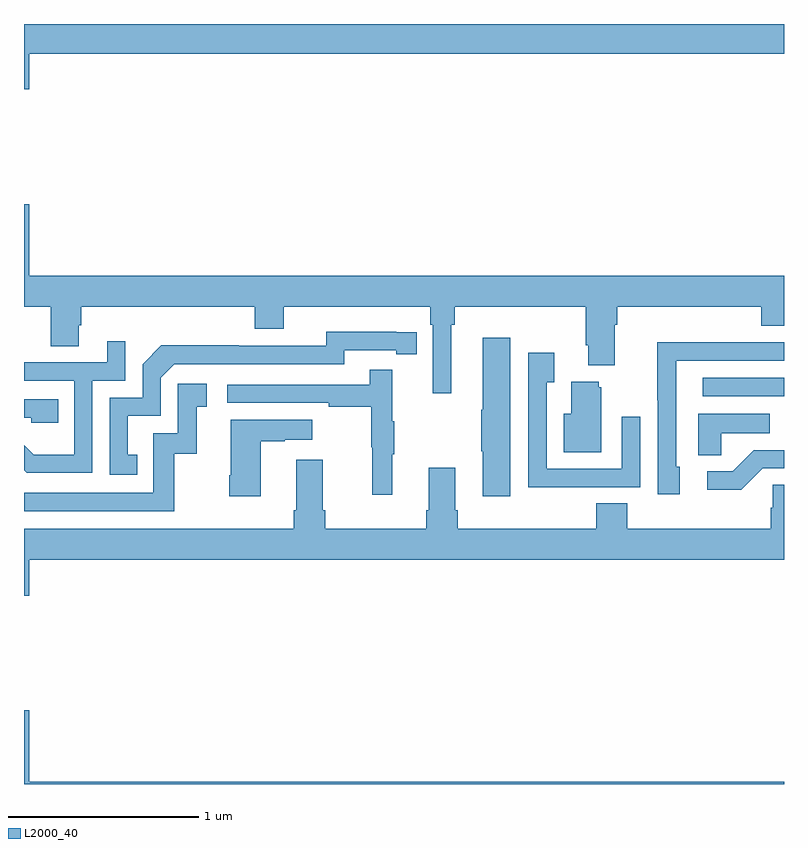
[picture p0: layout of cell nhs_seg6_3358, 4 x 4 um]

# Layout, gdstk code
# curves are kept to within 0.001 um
import gdstk
lib = gdstk.Library(unit=1e-6, precision=1e-09)
def R(c, l, rs):  # rectangles x0, y0, x1, y1
    for r in rs: c.add(gdstk.rectangle(r[:2], r[2:], *l))
def P(c, l, *ps):  # polygons
    for p in ps: c.add(gdstk.Polygon(p, *l))
L2000_40 = (2000, 40)

nhs_seg6_3358 = lib.new_cell('nhs_seg6_3358')
R(nhs_seg6_3358, L2000_40, [(312.573,937.542,313,937.638)])
P(nhs_seg6_3358, L2000_40, [(309.028,939.344),(313,939.344),(313,939.5),(309,939.5),(309,939.156),(309.028,939.156)],
  [(309.028,938.551),(309,938.551),(309,938.012),(309.142,938.012),(309.142,937.804),(309.289,937.804),(309.289,937.914),(309.302,937.914),(309.302,938.012),(310.214,938.012),(310.214,937.895),(310.366,937.895),(310.366,938.012),(311.138,938.012),(311.138,937.916),(311.151,937.916),(311.151,937.557),(311.248,937.557),(311.248,937.916),(311.267,937.916),(311.267,938.012),(311.957,938.012),(311.957,937.81),(311.969,937.81),(311.969,937.703),(312.109,937.703),(312.109,937.916),(312.122,937.916),(312.122,938.012),(312.881,938.012),(312.881,937.913),(313,937.913),(313,938.176),(309.028,938.176)],
  [(309.596,937.233),(309.547,937.233),(309.547,937.437),(309.72,937.437),(309.72,937.638),(309.792,937.71),(310.686,937.71),(310.686,937.782),(310.958,937.782),(310.958,937.762),(311.066,937.762),(311.066,937.878),(310.59,937.879),(310.59,937.806),(310.13,937.806),(310.13,937.808),(309.722,937.808),(309.624,937.71),(309.624,937.533),(309.45,937.533),(309.45,937.128),(309.596,937.128)],
  [(311.56,937.849),(311.414,937.849),(311.414,937.469),(311.407,937.469),(311.407,937.252),(311.414,937.252),(311.414,937.014),(311.56,937.014)],
  [(309.36,937.623),(309.534,937.623),(309.534,937.831),(309.437,937.831),(309.437,937.719),(309,937.719),(309,937.623),(309.264,937.623),(309.264,937.234),(309.05,937.234),(309,937.284),(309,937.151),(309.014,937.137),(309.36,937.137)],
  [(312.451,937.17),(312.432,937.17),(312.432,937.728),(313,937.728),(313,937.824),(312.797,937.824),(312.797,937.826),(312.334,937.826),(312.334,937.519),(312.336,937.519),(312.336,937.026),(312.451,937.026)],
  [(311.927,937.062),(312.243,937.062),(312.243,937.432),(312.147,937.432),(312.147,937.158),(311.751,937.158),(311.751,937.615),(311.791,937.615),(311.791,937.771),(311.655,937.771),(311.655,937.061),(311.927,937.061)],
  [(310.937,937.235),(310.948,937.235),(310.948,937.409),(310.937,937.409),(310.937,937.681),(310.819,937.681),(310.819,937.602),(310.071,937.602),(310.071,937.506),(310.603,937.506),(310.603,937.486),(310.827,937.486),(310.827,937.272),(310.834,937.272),(310.834,937.023),(310.937,937.023)],
  [(312.037,937.587),(312.026,937.587),(312.026,937.618),(311.879,937.618),(311.879,937.45),(311.84,937.45),(311.84,937.247),(312.037,937.247)],
  [(309.79,937.239),(309.908,937.239),(309.908,937.485),(309.961,937.485),(309.961,937.606),(309.81,937.606),(309.81,937.347),(309.681,937.347),(309.681,937.032),(309,937.032),(309,936.936),(309.79,936.936)],
  [(309.179,937.524),(309,937.524),(309,937.428),(309.039,937.428),(309.039,937.401),(309.179,937.401)],
  [(312.669,937.346),(312.926,937.346),(312.926,937.45),(312.548,937.45),(312.548,937.231),(312.669,937.231)],
  [(310.246,937.303),(310.373,937.303),(310.373,937.313),(310.516,937.313),(310.516,937.417),(310.088,937.417),(310.088,937.126),(310.081,937.126),(310.081,937.014),(310.246,937.014)],
  [(312.888,937.161),(313,937.161),(313,937.257),(312.842,937.257),(312.731,937.146),(312.597,937.146),(312.597,937.049),(312.775,937.049)],
  [(309.028,936.68),(313,936.68),(313,937.076),(312.942,937.076),(312.942,936.953),(312.929,936.953),(312.929,936.844),(312.176,936.844),(312.176,936.977),(312.011,936.977),(312.011,936.844),(311.282,936.844),(311.282,936.94),(311.269,936.94),(311.269,937.165),(311.129,937.165),(311.129,936.94),(311.117,936.94),(311.117,936.844),(310.586,936.844),(310.586,936.94),(310.573,936.94),(310.573,937.207),(310.433,937.207),(310.433,936.94),(310.421,936.94),(310.421,936.844),(309,936.844),(309,936.492),(309.028,936.492)],
  [(313,935.512),(309.028,935.512),(309.028,935.887),(309,935.887),(309,935.5),(313,935.5)])

lib.write_gds('nhs_seg6_3358.gds')
